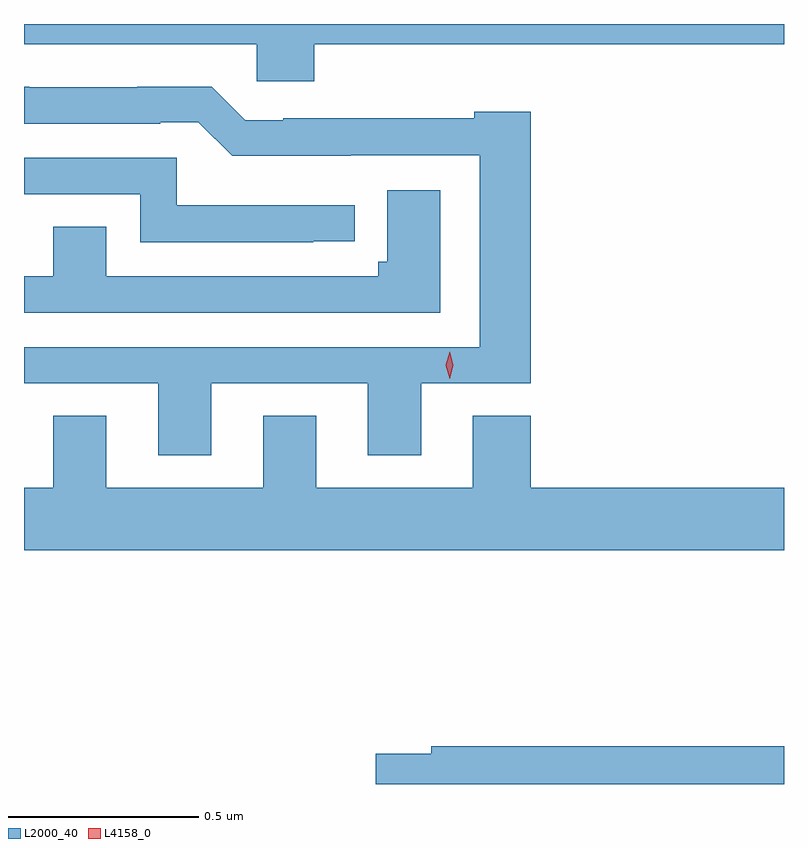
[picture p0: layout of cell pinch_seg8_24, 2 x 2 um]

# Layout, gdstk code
import gdstk
lib = gdstk.Library(unit=1e-6, precision=1e-09)
def P(c, l, *ps):  # polygons
    for p in ps: c.add(gdstk.Polygon(p, *l))
L2000_40 = (2000, 40)
L4158_0 = (4158, 0)

pinch_seg8_24 = lib.new_cell('pinch_seg8_24')
P(pinch_seg8_24, L2000_40, [(1070.93,1128.488),(1072.166,1128.488),(1072.166,1128.541),(1070.166,1128.541),(1070.166,1128.488),(1070.778,1128.488),(1070.778,1128.39),(1070.93,1128.39)],
  [(1070.659,1127.595),(1071.071,1127.595),(1071.071,1127.406),(1071.211,1127.406),(1071.211,1127.595),(1071.5,1127.595),(1071.5,1128.31),(1071.351,1128.31),(1071.351,1128.293),(1070.848,1128.293),(1070.848,1128.288),(1070.748,1128.288),(1070.66,1128.376),(1070.464,1128.376),(1070.464,1128.375),(1070.18,1128.375),(1070.18,1128.376),(1070.166,1128.376),(1070.166,1128.279),(1070.525,1128.279),(1070.525,1128.282),(1070.625,1128.282),(1070.714,1128.194),(1071.026,1128.194),(1071.026,1128.195),(1071.365,1128.195),(1071.365,1127.691),(1070.166,1127.691),(1070.166,1127.595),(1070.519,1127.595),(1070.519,1127.406),(1070.659,1127.406)],
  [(1070.927,1127.969),(1071.037,1127.969),(1071.037,1128.064),(1070.568,1128.064),(1070.568,1128.189),(1070.166,1128.189),(1070.166,1128.093),(1070.472,1128.093),(1070.472,1127.967),(1070.927,1127.967)],
  [(1071.262,1128.103),(1071.122,1128.103),(1071.122,1127.916),(1071.098,1127.916),(1071.098,1127.877),(1070.383,1127.877),(1070.383,1128.008),(1070.243,1128.008),(1070.243,1127.877),(1070.166,1127.877),(1070.166,1127.781),(1071.262,1127.781)],
  [(1072.166,1127.32),(1071.5,1127.32),(1071.5,1127.51),(1071.347,1127.51),(1071.347,1127.32),(1070.935,1127.32),(1070.935,1127.51),(1070.795,1127.51),(1070.795,1127.32),(1070.383,1127.32),(1070.383,1127.51),(1070.243,1127.51),(1070.243,1127.32),(1070.166,1127.32),(1070.166,1127.156),(1072.166,1127.156)],
  [(1072.166,1126.64),(1071.238,1126.64),(1071.238,1126.62),(1071.092,1126.62),(1071.092,1126.541),(1072.166,1126.541)])
P(pinch_seg8_24, L4158_0, [(1071.286,1127.608),(1071.286,1127.608),(1071.276,1127.643),(1071.286,1127.678),(1071.286,1127.678),(1071.286,1127.678),(1071.296,1127.643),(1071.286,1127.608)])

lib.write_gds('pinch_seg8_24.gds')
